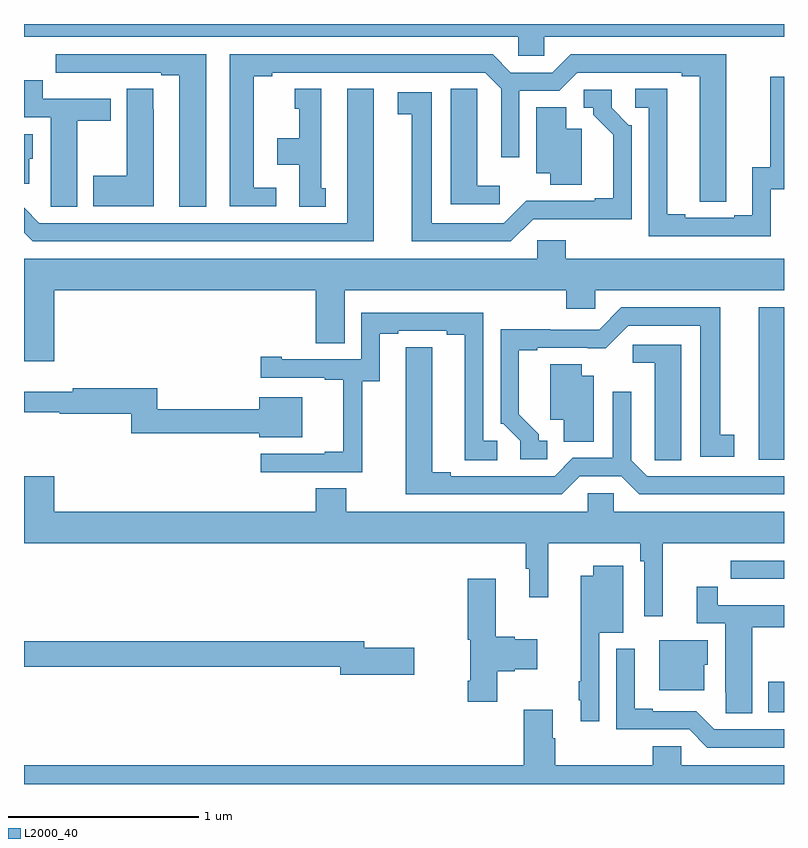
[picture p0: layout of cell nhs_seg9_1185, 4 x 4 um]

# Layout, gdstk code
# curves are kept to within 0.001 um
import gdstk
lib = gdstk.Library(unit=1e-6, precision=1e-09)
def R(c, l, rs):  # rectangles x0, y0, x1, y1
    for r in rs: c.add(gdstk.rectangle(r[:2], r[2:], *l))
def P(c, l, *ps):  # polygons
    for p in ps: c.add(gdstk.Polygon(p, *l))
L2000_40 = (2000, 40)

nhs_seg9_1185 = lib.new_cell('nhs_seg9_1185')
R(nhs_seg9_1185, L2000_40, [(180.917,1180.877,181,1181.037), (180.866,1182.207,181,1183.008)])
P(nhs_seg9_1185, L2000_40, [(179.739,1184.432),(181,1184.432),(181,1184.5),(177,1184.5),(177,1184.432),(179.601,1184.432),(179.601,1184.334),(179.739,1184.334)],
  [(177.958,1184.34),(177.168,1184.34),(177.168,1184.244),(177.28,1184.244),(177.28,1184.243),(177.446,1184.243),(177.446,1184.244),(177.722,1184.244),(177.722,1184.229),(177.818,1184.229),(177.818,1183.537),(177.958,1183.537)],
  [(178.327,1183.638),(178.21,1183.638),(178.21,1184.224),(178.306,1184.224),(178.306,1184.244),(179.427,1184.244),(179.511,1184.16),(179.511,1183.8),(179.607,1183.8),(179.607,1184.148),(179.817,1184.148),(179.913,1184.244),(180.461,1184.244),(180.461,1184.224),(180.557,1184.224),(180.557,1183.564),(180.696,1183.564),(180.697,1184.34),(179.877,1184.34),(179.781,1184.244),(179.563,1184.244),(179.467,1184.34),(178.082,1184.34),(178.082,1183.542),(178.327,1183.542)],
  [(180.93,1183.629),(181,1183.629),(181,1184.223),(180.928,1184.223),(180.928,1183.745),(180.833,1183.745),(180.833,1183.494),(180.737,1183.494),(180.737,1183.479),(180.481,1183.479),(180.481,1183.499),(180.385,1183.499),(180.385,1184.159),(180.216,1184.159),(180.216,1184.058),(180.288,1184.058),(180.288,1183.383),(180.93,1183.383)],
  [(177.28,1183.99),(177.457,1183.99),(177.457,1184.106),(177.098,1184.106),(177.098,1184.203),(177,1184.203),(177,1184.01),(177.14,1184.01),(177.14,1183.648),(177.141,1183.648),(177.141,1183.537),(177.28,1183.537)],
  [(177.682,1184.051),(177.681,1184.051),(177.681,1184.159),(177.542,1184.159),(177.542,1183.701),(177.365,1183.701),(177.365,1183.541),(177.682,1183.541)],
  [(179.503,1183.648),(179.386,1183.648),(179.386,1184.051),(179.385,1184.051),(179.385,1184.159),(179.246,1184.159),(179.246,1183.551),(179.503,1183.551)],
  [(178.84,1184.158),(178.7,1184.158),(178.7,1183.452),(177.081,1183.452),(177,1183.533),(177,1183.401),(177.045,1183.356),(178.84,1183.356)],
  [(178.588,1183.635),(178.564,1183.635),(178.564,1184.158),(178.424,1184.158),(178.424,1184.055),(178.448,1184.055),(178.448,1183.9),(178.334,1183.9),(178.334,1183.76),(178.448,1183.76),(178.448,1183.537),(178.588,1183.537)],
  [(179.679,1183.473),(180.198,1183.472),(180.198,1183.968),(180.183,1183.968),(180.093,1184.058),(180.093,1184.154),(179.946,1184.154),(179.946,1184.058),(179.996,1184.058),(179.996,1184.023),(180.101,1183.918),(180.101,1183.582),(180.005,1183.582),(180.005,1183.569),(179.644,1183.57),(179.526,1183.452),(179.146,1183.452),(179.146,1184.142),(178.968,1184.142),(178.968,1184.026),(179.042,1184.026),(179.042,1183.356),(179.562,1183.356)],
  [(179.935,1183.948),(179.854,1183.948),(179.854,1184.063),(179.696,1184.063),(179.696,1183.715),(179.771,1183.715),(179.771,1183.654),(179.935,1183.654)],
  [(177.028,1183.791),(177.046,1183.791),(177.046,1183.921),(177,1183.921),(177,1183.658),(177.028,1183.658)],
  [(177,1182.726),(177.16,1182.726),(177.16,1183.1),(178.535,1183.1),(178.535,1182.82),(178.687,1182.82),(178.687,1183.1),(179.855,1183.1),(179.855,1183.002),(180.006,1183.002),(180.006,1183.1),(181,1183.1),(181,1183.264),(179.852,1183.264),(179.852,1183.362),(179.7,1183.362),(179.7,1183.264),(177,1183.264)],
  [(179.755,1182.306),(179.71,1182.306),(179.71,1182.341),(179.605,1182.446),(179.605,1182.783),(179.701,1182.783),(179.701,1182.795),(180.062,1182.794),(180.18,1182.912),(180.56,1182.912),(180.56,1182.222),(180.739,1182.222),(180.739,1182.338),(180.664,1182.338),(180.664,1183.008),(180.144,1183.008),(180.027,1182.891),(179.771,1182.891),(179.771,1182.893),(179.508,1182.893),(179.508,1182.396),(179.523,1182.396),(179.613,1182.306),(179.613,1182.21),(179.755,1182.21)],
  [(178.779,1182.619),(178.873,1182.619),(178.873,1182.87),(178.969,1182.87),(178.969,1182.885),(179.225,1182.885),(179.225,1182.865),(179.321,1182.865),(179.321,1182.205),(179.491,1182.205),(179.491,1182.306),(179.418,1182.306),(179.418,1182.981),(178.776,1182.981),(178.776,1182.735),(178.357,1182.735),(178.357,1182.748),(178.245,1182.748),(178.245,1182.639),(178.583,1182.639),(178.583,1182.627),(178.679,1182.627),(178.679,1182.25),(178.583,1182.25),(178.583,1182.237),(178.245,1182.237),(178.245,1182.141),(178.779,1182.141)],
  [(180.46,1182.813),(180.204,1182.813),(180.204,1182.716),(180.32,1182.716),(180.32,1182.313),(180.321,1182.313),(180.321,1182.205),(180.46,1182.205)],
  [(179.925,1182.12),(180.143,1182.12),(180.239,1182.024),(181,1182.024),(181,1182.12),(180.279,1182.12),(180.195,1182.204),(180.195,1182.565),(180.099,1182.565),(180.099,1182.216),(179.889,1182.216),(179.793,1182.12),(179.245,1182.12),(179.245,1182.14),(179.149,1182.14),(179.149,1182.8),(179.01,1182.8),(179.009,1182.024),(179.829,1182.024)],
  [(179.998,1182.649),(179.935,1182.649),(179.935,1182.71),(179.771,1182.71),(179.771,1182.416),(179.84,1182.416),(179.84,1182.301),(179.998,1182.301)],
  [(178.465,1182.535),(178.238,1182.535),(178.238,1182.473),(177.701,1182.473),(177.701,1182.584),(177.256,1182.584),(177.256,1182.565),(177,1182.565),(177,1182.456),(177.188,1182.456),(177.188,1182.448),(177.565,1182.448),(177.565,1182.345),(178.238,1182.345),(178.238,1182.326),(178.465,1182.326)],
  [(180.244,1181.672),(180.264,1181.672),(180.264,1181.382),(180.362,1181.382),(180.362,1181.768),(181,1181.768),(181,1181.932),(180.105,1181.932),(180.105,1182.03),(179.967,1182.03),(179.967,1181.932),(178.695,1181.932),(178.695,1182.056),(178.535,1182.056),(178.535,1181.932),(177.16,1181.932),(177.16,1182.121),(177,1182.121),(177,1181.768),(179.641,1181.768),(179.641,1181.634),(179.66,1181.634),(179.66,1181.484),(179.76,1181.484),(179.76,1181.768),(180.244,1181.768)],
  [(180.998,1181.58),(181,1181.58),(181,1181.676),(180.72,1181.676),(180.72,1181.58),(180.832,1181.58),(180.832,1181.579),(180.998,1181.579)],
  [(180.027,1181.297),(180.154,1181.297),(180.154,1181.65),(179.996,1181.65),(179.996,1181.596),(179.93,1181.596),(179.93,1181.301),(179.929,1181.301),(179.929,1181.042),(179.919,1181.042),(179.919,1180.942),(179.93,1180.942),(179.93,1180.83),(180.027,1180.83)],
  [(179.49,1181.093),(179.583,1181.093),(179.583,1181.105),(179.701,1181.105),(179.701,1181.263),(179.583,1181.263),(179.583,1181.276),(179.482,1181.276),(179.482,1181.581),(179.336,1181.581),(179.336,1181.259),(179.348,1181.259),(179.348,1181.044),(179.336,1181.044),(179.336,1180.932),(179.49,1180.932)],
  [(180.832,1181.326),(181,1181.326),(181,1181.442),(180.65,1181.442),(180.65,1181.539),(180.542,1181.539),(180.542,1181.346),(180.692,1181.346),(180.692,1180.984),(180.693,1180.984),(180.693,1180.873),(180.832,1180.873)],
  [(180.58,1181.127),(180.598,1181.127),(180.598,1181.257),(180.344,1181.257),(180.344,1180.994),(180.58,1180.994)],
  [(179.053,1181.216),(178.792,1181.216),(178.792,1181.252),(177,1181.252),(177,1181.116),(178.664,1181.116),(178.664,1181.074),(179.053,1181.074)],
  [(181,1180.788),(180.633,1180.788),(180.537,1180.884),(180.31,1180.884),(180.31,1180.897),(180.214,1180.897),(180.214,1181.212),(180.117,1181.212),(180.117,1180.788),(180.501,1180.788),(180.597,1180.692),(181,1180.692)],
  [(181,1180.6),(180.459,1180.6),(180.459,1180.698),(180.308,1180.698),(180.308,1180.6),(179.795,1180.6),(179.795,1180.742),(179.782,1180.742),(179.782,1180.891),(179.63,1180.891),(179.63,1180.6),(177,1180.6),(177,1180.5),(181,1180.5)])

lib.write_gds('nhs_seg9_1185.gds')
